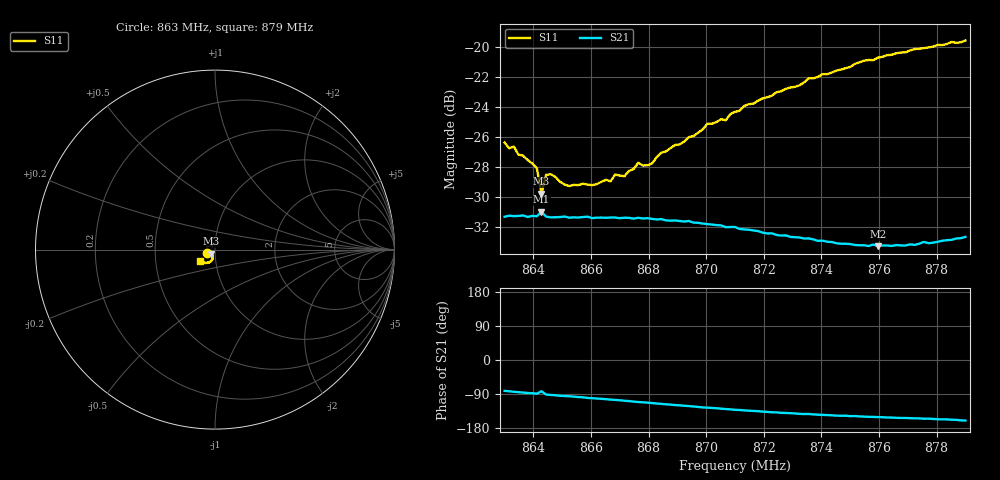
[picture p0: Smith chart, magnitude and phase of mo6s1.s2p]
# HZ S RI R 50
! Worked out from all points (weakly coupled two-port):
!   101 points, 863 MHz to 879 MHz, reference 50 ohm
!   highest |S21| = -30.98 dB at 864.28 MHz (marker M1); lowest = -33.3 dB at 875.96 MHz (marker M2)
!   lowest |S11| = -29.8 dB at 864.28 MHz (marker M3), VSWR 1.07, Z = 47.6 - j2.08 ohm
!   |S11| at or under -10 dB: start of sweep to end of sweep
!   S12 and S22 are empty: the file has one direction only
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8.63e8  -0.043 -0.0215  0.00405 -0.0269  0 0  0 0
8.6316e8  -0.0411 -0.0206  0.00355 -0.0272  0 0  0 0
8.6332e8  -0.041 -0.0222  0.00293 -0.0272  0 0  0 0
8.6348e8  -0.0382 -0.0215  0.0024 -0.0273  0 0  0 0
8.6412e8  -0.0327 -0.022  0.000533 -0.0273  0 0  0 0
8.6428e8  -0.0241 -0.0218  0.00373 -0.028  0 0  0 0
8.6444e8  -0.0306 -0.0217  -0.000525 -0.0272  0 0  0 0
8.6524e8  -0.0244 -0.0243  -0.00269 -0.0269  0 0  0 0
8.6572e8  -0.0217 -0.0275  -0.004 -0.0269  0 0  0 0
8.6684e8  -0.0166 -0.0338  -0.00717 -0.0261  0 0  0 0
8.6716e8  -0.015 -0.034  -0.00816 -0.0257  0 0  0 0
8.6764e8  -0.0157 -0.038  -0.00961 -0.0252  0 0  0 0
8.6812e8  -0.0131 -0.0388  -0.0107 -0.0245  0 0  0 0
8.6844e8  -0.0141 -0.0422  -0.0116 -0.0241  0 0  0 0
8.6956e8  -0.0142 -0.0485  -0.014 -0.0219  0 0  0 0
8.7004e8  -0.0148 -0.0535  -0.015 -0.0209  0 0  0 0
8.7068e8  -0.0157 -0.0548  -0.016 -0.0194  0 0  0 0
8.71e8  -0.0172 -0.0583  -0.0166 -0.0189  0 0  0 0
8.7372e8  -0.0334 -0.0712  -0.0184 -0.0136  0 0  0 0
8.7596e8  -0.0544 -0.0744  -0.0189 -0.0106  0 0  0 0
8.7644e8  -0.0599 -0.0727  -0.0192 -0.0102  0 0  0 0
8.79e8  -0.0858 -0.0609  -0.0219 -0.00808  0 0  0 0
